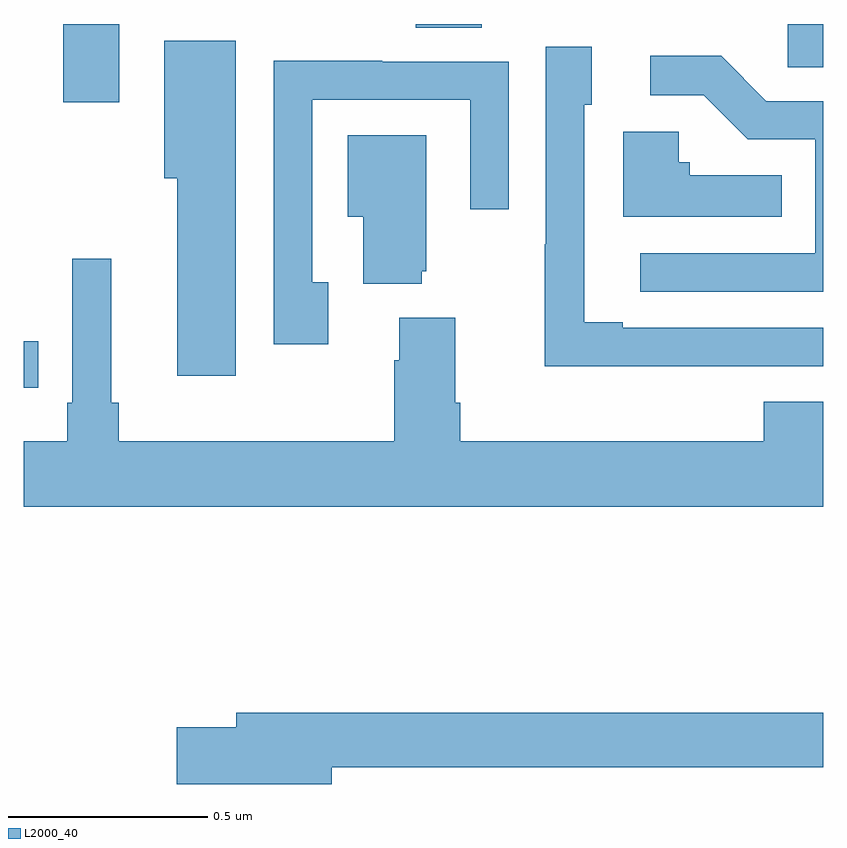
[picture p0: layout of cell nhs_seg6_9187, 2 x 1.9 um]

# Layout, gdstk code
import gdstk
lib = gdstk.Library(unit=1e-6, precision=1e-09)
def R(c, l, rs):  # rectangles x0, y0, x1, y1
    for r in rs: c.add(gdstk.rectangle(r[:2], r[2:], *l))
def P(c, l, *ps):  # polygons
    for p in ps: c.add(gdstk.Polygon(p, *l))
L2000_40 = (2000, 40)

nhs_seg6_9187 = lib.new_cell('nhs_seg6_9187')
R(nhs_seg6_9187, L2000_40, [(230,991.59,230.036,991.706), (230.099,992.304,230.239,992.5), (231.912,992.392,232,992.5), (230.981,992.491,231.146,992.5)])
P(nhs_seg6_9187, L2000_40, [(230.53,992.458),(230.351,992.458),(230.351,992.114),(230.384,992.114),(230.384,991.62),(230.53,991.62)],
  [(231.767,991.644),(232,991.644),(232,991.74),(231.499,991.74),(231.499,991.753),(231.402,991.753),(231.402,992.298),(231.421,992.298),(231.421,992.443),(231.306,992.443),(231.306,991.949),(231.304,991.949),(231.304,991.643),(231.767,991.643)],
  [(232,992.307),(231.858,992.307),(231.745,992.42),(231.567,992.42),(231.567,992.322),(231.701,992.322),(231.812,992.211),(231.981,992.211),(231.981,991.926),(231.543,991.926),(231.543,991.83),(232,991.83)],
  [(230.761,991.854),(230.721,991.854),(230.721,992.31),(231.117,992.31),(231.117,992.037),(231.213,992.037),(231.213,992.406),(230.897,992.406),(230.897,992.408),(230.625,992.408),(230.625,991.698),(230.761,991.698)],
  [(231.896,992.122),(231.666,992.122),(231.666,992.154),(231.639,992.154),(231.639,992.23),(231.5,992.23),(231.5,992.018),(231.896,992.018)],
  [(230.996,991.881),(231.007,991.881),(231.007,992.221),(230.81,992.221),(230.81,992.018),(230.849,992.018),(230.849,991.85),(230.996,991.85)],
  [(232,991.555),(231.851,991.555),(231.851,991.456),(231.092,991.456),(231.092,991.552),(231.079,991.552),(231.079,991.765),(230.939,991.765),(230.939,991.658),(230.927,991.658),(230.927,991.456),(230.237,991.456),(230.237,991.552),(230.218,991.552),(230.218,991.912),(230.121,991.912),(230.121,991.552),(230.108,991.552),(230.108,991.456),(230,991.456),(230,991.292),(232,991.292)],
  [(230.77,990.64),(232,990.64),(232,990.776),(230.531,990.776),(230.531,990.74),(230.382,990.74),(230.382,990.598),(230.77,990.598)])

lib.write_gds('nhs_seg6_9187.gds')
